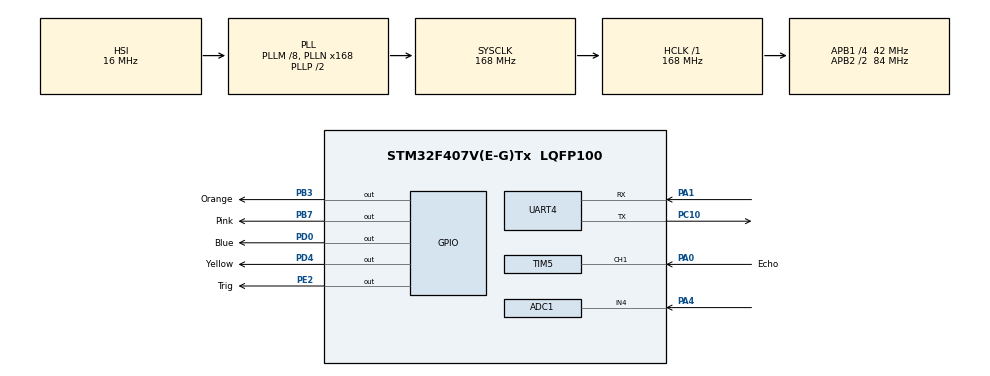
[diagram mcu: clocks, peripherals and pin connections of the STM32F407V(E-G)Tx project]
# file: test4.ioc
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ADC1.Channel-0\#ChannelRegularConversion=ADC_CHANNEL_4
ADC1.ExternalTrigConv=ADC_EXTERNALTRIGCONV_T2_TRGO
ADC1.NbrOfConversionFlag=1
ADC1.Rank-0\#ChannelRegularConversion=1
ADC1.SamplingTime-0\#ChannelRegularConversion=ADC_SAMPLETIME_3CYCLES
ADC1.master=1
Dma.Request0=UART4_RX
Dma.UART4_RX.0.Direction=DMA_PERIPH_TO_MEMORY
Dma.UART4_RX.0.FIFOMode=DMA_FIFOMODE_DISABLE
Dma.UART4_RX.0.Instance=DMA1_Stream2
Dma.UART4_RX.0.MemDataAlignment=DMA_MDATAALIGN_BYTE
Dma.UART4_RX.0.MemInc=DMA_MINC_ENABLE
Dma.UART4_RX.0.Mode=DMA_CIRCULAR
Dma.UART4_RX.0.PeriphDataAlignment=DMA_PDATAALIGN_BYTE
Dma.UART4_RX.0.PeriphInc=DMA_PINC_DISABLE
Dma.UART4_RX.0.Priority=DMA_PRIORITY_LOW
Mcu.Family=STM32F4
Mcu.Name=STM32F407V(E-G)Tx
Mcu.Package=LQFP100
NVIC.ADC_IRQn=true\:0\:0\:false\:false\:true\:true\:true
NVIC.DMA1_Stream2_IRQn=true\:0\:0\:false\:false\:true\:false\:true
NVIC.PriorityGroup=NVIC_PRIORITYGROUP_0
NVIC.TIM3_IRQn=true\:0\:0\:false\:false\:true\:true\:true
NVIC.TIM5_IRQn=true\:0\:0\:false\:false\:true\:true\:true
PA0-WKUP.GPIO_Label=Echo
PA0-WKUP.Signal=S_TIM5_CH1
PA1.Mode=Asynchronous
PA1.Signal=UART4_RX
PA13.Mode=Serial_Wire
PA13.Signal=SYS_JTMS-SWDIO
PA14.Mode=Serial_Wire
PA14.Signal=SYS_JTCK-SWCLK
PA4.Signal=ADCx_IN4
PB3.GPIO_Label=Orange
PB3.Signal=GPIO_Output
PB7.GPIO_Label=Pink
PB7.Signal=GPIO_Output
PC10.Mode=Asynchronous
PC10.Signal=UART4_TX
PD0.GPIO_Label=Blue
PD0.Signal=GPIO_Output
PD4.GPIO_Label=Yellow
PD4.Signal=GPIO_Output
PE2.GPIO_Label=Trig
PE2.Signal=GPIO_Output
PH0-OSC_IN.Mode=HSE-External-Oscillator
PH0-OSC_IN.Signal=RCC_OSC_IN
PH1-OSC_OUT.Mode=HSE-External-Oscillator
PH1-OSC_OUT.Signal=RCC_OSC_OUT
ProjectManager.HeapSize=0x200
ProjectManager.StackSize=0x400
ProjectManager.TargetToolchain=MDK-ARM V5.27
RCC.48MHZClocksFreq_Value=48000000
RCC.AHBFreq_Value=168000000
RCC.APB1CLKDivider=RCC_HCLK_DIV4
RCC.APB1Freq_Value=42000000
RCC.APB1TimFreq_Value=84000000
RCC.APB2CLKDivider=RCC_HCLK_DIV2
RCC.APB2Freq_Value=84000000
RCC.APB2TimFreq_Value=168000000
RCC.CortexFreq_Value=168000000
RCC.HCLKFreq_Value=168000000
RCC.HSE_VALUE=8000000
RCC.HSI_VALUE=16000000
RCC.LSE_VALUE=32768
RCC.PLLM=8
RCC.PLLN=168
RCC.PLLQ=7
RCC.SYSCLKFreq_VALUE=168000000
RCC.SYSCLKSource=RCC_SYSCLKSOURCE_PLLCLK
RCC.VCOOutputFreq_Value=336000000
SH.ADCx_IN4.0=ADC1_IN4,IN4
SH.S_TIM5_CH1.0=TIM5_CH1,Input_Capture1_from_TI1
TIM2.Period=62499
TIM2.Prescaler=1343
TIM2.TIM_MasterOutputTrigger=TIM_TRGO_UPDATE
TIM3.Period=923
TIM5.Channel-Input_Capture1_from_TI1=TIM_CHANNEL_1
TIM5.Period=0xffffffff
TIM5.Prescaler=83
UART4.VirtualMode=Asynchronous
VP_TIM2_VS_ClockSourceINT.Mode=Internal
VP_TIM3_VS_ClockSourceINT.Mode=Internal
board=STM32F407G-DISC1

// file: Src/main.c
/* USER CODE BEGIN Header */
/**
  ******************************************************************************
  * @file           : main.c
  * @brief          : Main program body
  ******************************************************************************
  * @attention
  *
  * <h2><center>&copy; Copyright (c) 2020 STMicroelectronics.
  * All rights reserved.</center></h2>
  *
  * This software component is licensed by ST under BSD 3-Clause license,
  * the "License"; You may not use this file except in compliance with the
  * License. You may obtain a copy of the License at:
  *                        opensource.org/licenses/BSD-3-Clause
  *
  ******************************************************************************
  */
/* USER CODE END Header */

#include "main.h"
#include "adc.h"
#include "dma.h"
#include "tim.h"
#include "usart.h"
#include "gpio.h"

/* USER CODE BEGIN Includes */
uint16_t rawValue;
void read_ultra(void);
int rising_edge = 0;
uint32_t value_rising;
uint32_t value_falling;
double volatile distance=0;
double volatile temp;
void stepper(int direction);
void steper_degree(int teta,int direction);
int Steps=0;
int counter;
int T=0;
int volatile Flag_distance=0;
int max_output = 270;
int min_output = 0;
int volatile current_output =0;
int volatile output;
float error = 0;
void Send_Stats();
unsigned char myRxData[20];
int lux = 0;
char Command[20];
int temp_counter2=0;
int Ter=0;
void Compare_Strigns();
int stats_flag=0;
int AutoMode_flag=0;
int sp = 27;
/* USER CODE END Includes */

void SystemClock_Config(void);

int main(void)
{

  /* MCU Configuration--------------------------------------------------------*/

  /* Reset of all peripherals, Initializes the Flash interface and the Systick. */
  HAL_Init();

  /* Configure the system clock */
  SystemClock_Config();

  /* Initialize all configured peripherals */
  MX_GPIO_Init();
  MX_DMA_Init();
  MX_ADC1_Init();
  MX_TIM2_Init();
  MX_TIM3_Init();
  MX_TIM5_Init();
  MX_UART4_Init();
  /* USER CODE BEGIN 2 */
	HAL_TIM_Base_Start(&htim2);
	HAL_ADC_Start_IT(&hadc1);
  /* USER CODE END 2 */

  /* Infinite loop */
  /* USER CODE BEGIN WHILE */
	HAL_UART_Receive_DMA(&huart4, myRxData, 1);

  while (1)
  {

		//reading the distance
		read_ultra();
		HAL_Delay(50);
		//if users asks for status we will send it
		if(stats_flag==1)
		{
			Send_Stats();
			HAL_Delay(10);
			stats_flag=0;
		}
		else if(stats_flag==2)
		{
			//if the user asks for automode we change it to on
			stats_flag=0;
			AutoMode_flag=0;
		}
		else if (stats_flag==3)
		{
			//if the user asks for automode we change it to off
			stats_flag=0;
			AutoMode_flag=1;
		}
		if(AutoMode_flag==0)
		{
			//if automode is off the motor decides how much it should rotate  based on the setpoint
			stats_flag=0;
			if(distance < 10 && current_output != 0)
			{
				steper_degree(current_output,1);
				current_output = 0;
			}
			if(distance>10)
			{
				HAL_ADC_ConvCpltCallback(&hadc1);
				error=27-temp;
				output= (float) error/5*270;
				if(output <= 270 && output >= 0)
				{
					if(output - current_output > 0 ){
						steper_degree(output-current_output,0);
						current_output = output;
					}
					else{
						steper_degree(current_output - output,1);
						current_output = output;
					}
				}
				else if(output < 0){
					steper_degree(current_output,1);
					current_output = 0;
				}
				else{
					steper_degree(270 - current_output,0);
					current_output = 270;
				}
			}
			/* USER CODE END WHILE */
		}
    /* USER CODE BEGIN 3 */
		else
		{
				//if automode is off the motor decides based on the given setpoint or the default setpoint
				stats_flag=0;
				HAL_ADC_ConvCpltCallback(&hadc1);
				error=sp-temp;
				output= (float) error/5*270;
				if(output <= 270 && output >= 0)
				{
					if(output - current_output > 0 ){
						steper_degree(output-current_output,0);
						current_output = output;
					}
					else{
						steper_degree(current_output - output,1);
						current_output = output;
					}
				}
				else if(output < 0){
					steper_degree(current_output,1);
					current_output = 0;
				}
				else{
					steper_degree(270 - current_output,0);
					current_output = 270;
				}
		}

	}
  /* USER CODE END 3 */
}

void SystemClock_Config(void)
{
  RCC_OscInitTypeDef RCC_OscInitStruct = {0};
  RCC_ClkInitTypeDef RCC_ClkInitStruct = {0};

  /** Configure the main internal regulator output voltage
  */
  __HAL_RCC_PWR_CLK_ENABLE();
  __HAL_PWR_VOLTAGESCALING_CONFIG(PWR_REGULATOR_VOLTAGE_SCALE1);
  /** Initializes the CPU, AHB and APB busses clocks
  */
  RCC_OscInitStruct.OscillatorType = RCC_OSCILLATORTYPE_HSI;
  RCC_OscInitStruct.HSIState = RCC_HSI_ON;
  RCC_OscInitStruct.HSICalibrationValue = RCC_HSICALIBRATION_DEFAULT;
  RCC_OscInitStruct.PLL.PLLState = RCC_PLL_ON;
  RCC_OscInitStruct.PLL.PLLSource = RCC_PLLSOURCE_HSI;
  RCC_OscInitStruct.PLL.PLLM = 8;
  RCC_OscInitStruct.PLL.PLLN = 168;
  RCC_OscInitStruct.PLL.PLLP = RCC_PLLP_DIV2;
  RCC_OscInitStruct.PLL.PLLQ = 7;
  if (HAL_RCC_OscConfig(&RCC_OscInitStruct) != HAL_OK)
  {
    Error_Handler();
  }
  /** Initializes the CPU, AHB and APB busses clocks
  */
  RCC_ClkInitStruct.ClockType = RCC_CLOCKTYPE_HCLK|RCC_CLOCKTYPE_SYSCLK
                              |RCC_CLOCKTYPE_PCLK1|RCC_CLOCKTYPE_PCLK2;
  RCC_ClkInitStruct.SYSCLKSource = RCC_SYSCLKSOURCE_PLLCLK;
  RCC_ClkInitStruct.AHBCLKDivider = RCC_SYSCLK_DIV1;
  RCC_ClkInitStruct.APB1CLKDivider = RCC_HCLK_DIV4;
  RCC_ClkInitStruct.APB2CLKDivider = RCC_HCLK_DIV2;

  if (HAL_RCC_ClockConfig(&RCC_ClkInitStruct, FLASH_LATENCY_5) != HAL_OK)
  {
    Error_Handler();
  }
}

/* USER CODE BEGIN 4 */

void HAL_ADC_ConvCpltCallback(ADC_HandleTypeDef* hadc)
{
	rawValue = HAL_ADC_GetValue(hadc);
	temp = (double) rawValue/4095*2920/10;
}

void read_ultra(void)
{
	HAL_GPIO_WritePin(Trig_GPIO_Port,Trig_Pin,GPIO_PIN_SET);
	HAL_TIM_Base_Start_IT(&htim3);
}

void steper_degree(int teta,int direction)
{
	//based on teta finds how many steps the motor should take
	if(teta!=0)
	{
	counter = ( (float) teta / 90 )*500;
	for(int i=0;i<counter;i++)
	{
			stepper(direction);
			HAL_Delay(1);
	}
	}
}

void HAL_TIM_IC_CaptureCallback(TIM_HandleTypeDef *htim)
{
	if(rising_edge == 0) //rising not detected
	{
		value_rising = HAL_TIM_ReadCapturedValue(&htim5,TIM_CHANNEL_1);
		rising_edge = 1;
		__HAL_TIM_SET_CAPTUREPOLARITY(&htim5,TIM_CHANNEL_1,TIM_INPUTCHANNELPOLARITY_FALLING);
	}
	else if(rising_edge == 1) //rising detected
	{
		value_falling = HAL_TIM_ReadCapturedValue(&htim5,TIM_CHANNEL_1);

		if(value_falling > value_rising)
		{
				distance = (double)((value_falling - value_rising)*0.034/2);
		}
		else
		{
				distance = (double)(((0xffffffff - value_rising ) + value_falling)*0.034/2);
		}
		rising_edge = 0;
		__HAL_TIM_SET_CAPTUREPOLARITY(&htim5,TIM_CHANNEL_1,TIM_INPUTCHANNELPOLARITY_RISING);
		HAL_TIM_IC_Stop_IT(&htim5,TIM_CHANNEL_1);
	}
}

void HAL_TIM_PeriodElapsedCallback(TIM_HandleTypeDef *htim)
{
	if(htim->Instance == TIM3)
	{
		HAL_GPIO_WritePin(Trig_GPIO_Port,Trig_Pin,GPIO_PIN_RESET);
		HAL_TIM_IC_Start_IT(&htim5,TIM_CHANNEL_1);
		HAL_TIM_Base_Stop_IT(&htim3);
	}
}

void HAL_UART_RxCpltCallback(UART_HandleTypeDef *huart)
{
	//we use this to empty our string
	if(Ter==0)
	{
		for(int i = 0 ; i <20 ;i++)
		{
			Command[i]=10;
		}
	}
	//user should use the newline in arduino commands so we be able to recognize the command's end
	//then we will write the command in our buffer until we reach end symbole
	if(myRxData[0]!=10 )
	{
		Command[Ter]= myRxData[0];
		Ter++;
	}
	else{
		//this will help us to use string's functions
		Command[Ter] = '\0';
		Ter=0;
		Compare_Strigns();
	}
}
void Compare_Strigns()
{
	//we used strcmp for comparing strings
	if(strcmp("Status",Command)==0)
		stats_flag=1;
	else if(strcmp("Turn on Auto Mode",Command)==0)
	{
		char buffer[50];
		sprintf(buffer,"Auto Mode turned on \n");
		HAL_UART_Transmit(&huart4,(uint8_t*) buffer,strlen((char*)buffer),20);
		stats_flag=2;
	}
	else if(strcmp("Turn off Auto Mode",Command)==0)
	{
		char buffer[50];
		sprintf(buffer,"Auto Mode turned off \n");
		HAL_UART_Transmit(&huart4,(uint8_t*) buffer,strlen((char*)buffer),20);
		stats_flag=3;
	}
	else
	{
		//the 12 and 13 charachter should be the temperature that user wants
		sp = (int)(Command[12]-'0')*10+(int) ( Command[13]-'0') ;
		char buffer[50];
		sprintf(buffer,"Temp set to %d deg \n",sp);
		HAL_UART_Transmit(&huart4,(uint8_t*) buffer,strlen((char*)buffer),20);
	}

}

void Send_Stats()
{
		//making a buffer to write data in it
		char buffer[50];
		//after with %f we will send the temp
		sprintf(buffer,"Temp = %2f degree \n", temp);
		HAL_UART_Transmit(&huart4,(uint8_t*) buffer,strlen((char*)buffer),10);
		HAL_Delay(10);
		sprintf(buffer,"Motor_Pos = %d degree \n", current_output);
		HAL_UART_Transmit(&huart4,(uint8_t*) buffer,strlen((char*)buffer),10);
		HAL_Delay(10);
		//if the distance is less than 10 the door is closed and
		if(distance>10)
		{
				HAL_UART_Transmit(&huart4,(uint8_t*) "Door is open \n" ,strlen((char*)"Door is open \n"),10);
		}
		else
		{
			HAL_UART_Transmit(&huart4,(uint8_t*) "Door is close \n" ,strlen((char*)"Door is close \n"),10);
		}
		HAL_Delay(10);
		//based on thte automodeflag user receives the proper message
		if(AutoMode_flag==0)
		{
			HAL_UART_Transmit(&huart4,(uint8_t*) "Auto Mode is ON \n" ,strlen((char*)"Auto Mode is ON \n"),10);
		}

		else
		{
			HAL_UART_Transmit(&huart4,(uint8_t*) "Auto Mode is OFF \n" ,strlen((char*)"Auto Mode is OFF \n"),10);
		}
		HAL_Delay(10);
}

void stepper(int direction)
{
		//this is how one step works
		switch(Steps)
		{
			case 0 :
				HAL_GPIO_WritePin(Blue_GPIO_Port,Blue_Pin,GPIO_PIN_SET);
				HAL_GPIO_WritePin(Pink_GPIO_Port,Pink_Pin,GPIO_PIN_RESET);
				HAL_GPIO_WritePin(Yellow_GPIO_Port,Yellow_Pin,GPIO_PIN_RESET);
				HAL_GPIO_WritePin(Orange_GPIO_Port,Orange_Pin,GPIO_PIN_RESET);
				T=1;
				break;
			case 1 :
				HAL_GPIO_WritePin(Blue_GPIO_Port,Blue_Pin,GPIO_PIN_RESET);
				HAL_GPIO_WritePin(Pink_GPIO_Port,Pink_Pin,GPIO_PIN_SET);
				HAL_GPIO_WritePin(Yellow_GPIO_Port,Yellow_Pin,GPIO_PIN_RESET);
				HAL_GPIO_WritePin(Orange_GPIO_Port,Orange_Pin,GPIO_PIN_RESET);
				T=2;
				break;
			case 2 :
				HAL_GPIO_WritePin(Blue_GPIO_Port,Blue_Pin,GPIO_PIN_RESET);
				HAL_GPIO_WritePin(Pink_GPIO_Port,Pink_Pin,GPIO_PIN_RESET);
				HAL_GPIO_WritePin(Yellow_GPIO_Port,Yellow_Pin,GPIO_PIN_SET);
				HAL_GPIO_WritePin(Orange_GPIO_Port,Orange_Pin,GPIO_PIN_RESET);
				T=3;
				break;
			case 3 :
				HAL_GPIO_WritePin(Blue_GPIO_Port,Blue_Pin,GPIO_PIN_RESET);
				HAL_GPIO_WritePin(Pink_GPIO_Port,Pink_Pin,GPIO_PIN_RESET);
				HAL_GPIO_WritePin(Yellow_GPIO_Port,Yellow_Pin,GPIO_PIN_RESET);
				HAL_GPIO_WritePin(Orange_GPIO_Port,Orange_Pin,GPIO_PIN_SET);
				T=4;
				break;

		}

		if(direction==0)//clockwise
		{
			Steps++;
		}
		else
			Steps--;
		if(Steps > 3)
			Steps = 0;
		if(Steps < 0)
			Steps = 3;
}

/* USER CODE END 4 */

void Error_Handler(void)
{
}

/************************ (C) COPYRIGHT STMicroelectronics *****END OF FILE****/
